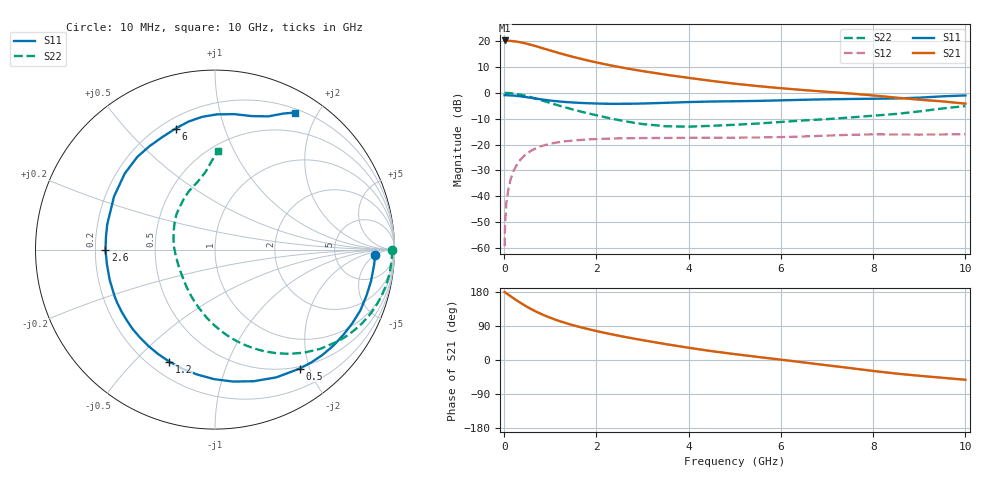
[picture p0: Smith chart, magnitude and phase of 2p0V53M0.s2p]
! (c) 2009  Infineon Technologies AG, Munich
! Infineon Technologies  Discrete & RF Semiconductors
! BFP420
! VCE =  0.5 V,  IC =  3.0 mA
! Common Emitter S-Parameters:  Nov 2009
# GHz  S  MA  R  50
!  f  S11  S21  S12  S22
! GHz  MAG  ANG  MAG  ANG  MAG  ANG  MAG  ANG
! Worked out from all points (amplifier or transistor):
!   46 points, 10 MHz to 10 GHz, reference 50 ohm
!   highest |S21| = 20.1 dB at 10 MHz (marker M1)
!   |S21| within 3 dB of that: start of sweep to 835.6 MHz
!   unconditionally stable (mu >= 1): 3.519 GHz to end of sweep
!   at 300 MHz: K = 0.07, MSG = 23.3 dB, |S12| = -27.1 dB
!   at 1.7 GHz: K = 0.48, MSG = 15.5 dB, |S12| = -18.2 dB
!   at 10 GHz: K = 1.13, MAG = 3.7 dB, |S12| = -16.0 dB
!   lowest NFmin = 0.57 dB at 900 MHz
!   S11 on the Smith chart (normalised r, x): 10 MHz: 16, -5; 500 MHz: 0.47, -1.84; 1.2 GHz: 0.28, -0.64; 2.6 GHz: 0.24, -0.00; 6 GHz: 0.26, +0.69; 10 GHz: 0.25, +1.71
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0.01  0.891 -1.9  10.11 179.4  0.0011 100.7  0.9847 -0.2
0.02  0.8923 -2.3  9.883 178.7  0.003 88.0  0.9867 -1.5
0.05  0.8905 -5.4  9.928 175.8  0.0078 87.4  0.9859 -3.9
0.1  0.8868 -11.5  9.963 171.7  0.0152 83.4  0.9815 -7.9
0.2  0.8778 -22.7  9.804 163.3  0.0301 77.0  0.9625 -15.7
0.3  0.8585 -33.7  9.514 155.1  0.044 70.6  0.9331 -23.3
0.5  0.8134 -54.6  8.706 140.2  0.0677 59.2  0.8515 -37.1
0.6  0.7897 -64.3  8.253 133.4  0.0774 54.0  0.8062 -43.3
0.8  0.7423 -82.1  7.316 121.6  0.0926 45.2  0.7145 -54.4
1  0.7031 -98.1  6.484 111.5  0.1036 38.1  0.631 -64.0
1.2  0.6742 -112.2  5.751 102.7  0.1115 32.2  0.5588 -72.4
1.4  0.6526 -124.7  5.135 95.1  0.1172 27.3  0.498 -80.0
1.7  0.6302 -141.2  4.4 85.2  0.1233 21.3  0.4236 -90.2
2.2  0.6105 -164.0  3.503 71.1  0.1294 13.7  0.3341 -106.1
2.6  0.6103 -180.0  2.992 61.3  0.1318 8.7  0.283 -119.6
3.5  0.6358 152.2  2.218 42.0  0.1338 0.8  0.2249 -152.0
4.5  0.6739 130.0  1.681 23.3  0.1351 -5.4  0.2293 176.0
5.5  0.6924 115.0  1.335 8.1  0.1367 -9.3  0.2537 154.9
6  0.7094 108.0  1.216 0.9  0.139 -10.9  0.272 145.7
7  0.743 95.6  1.036 -13.9  0.1483 -15.2  0.3085 129.5
8.5  0.7715 74.6  0.8 -35.8  0.156 -26.2  0.3887 104.6
10  0.8834 59.8  0.613 -52.2  0.1584 -32.5  0.5508 88.2
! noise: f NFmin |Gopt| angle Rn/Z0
0.9  0.57  0.35  33  0.18
1.8  1.02  0.2  79  0.14
2.4  1.1  0.23  104  0.14
3  1.25  0.24  144  0.11
4  1.46  0.33  -159  0.1
5  1.9  0.39  -128  0.22
6  2.46  0.48  -107  0.35
